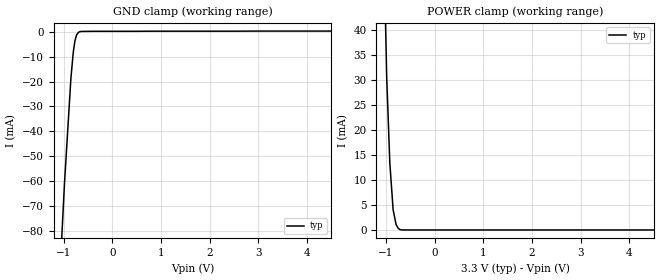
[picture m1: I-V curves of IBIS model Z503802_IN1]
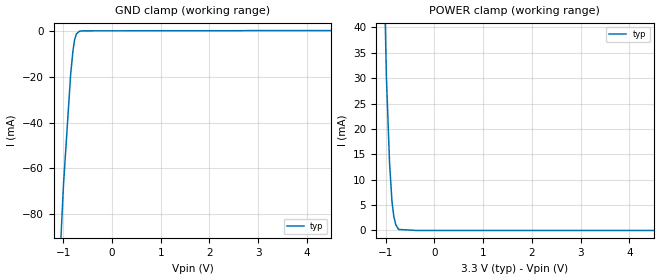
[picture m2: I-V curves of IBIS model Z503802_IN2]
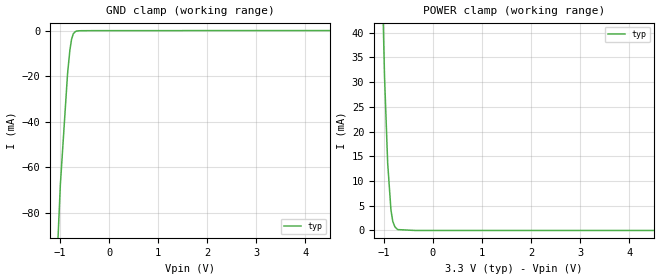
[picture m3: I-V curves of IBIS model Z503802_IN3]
| YOU ARE ONLY AUTHORIZED TO USE THIS SOFTWARE
| ACCORDING TO LICENSOR'S LICENSE RESTRICTIONS.
[IBIS Ver] 3.1
[File Name] mc74ac573n_33.ibs
[File Rev] 2.0
[Source] Measured and created by ICX Technology
[Date] Friday 7/14/00 9:08:00 AM
[Copyright]
| (C) COPYRIGHT 1993-2000
| MENTOR GRAPHICS CORPORATION
| ICX STANDARD LIBRARY, ICX PROJECT MODELING,
| ICX CUSTOM MODELING, ICX VENDOR MODEL
| ALL RIGHTS RESERVED.
| THE FOLLOWING ARE TRADEMARKS OR SERVICE MARKS OF
| MENTOR GRAPHICS CORPORATION:ICX (R), ICX STANDARD
| LIBRARY(R), ICX PROJECT MODELING(R), ICX CUSTOM
| MODELING(R), qualityIBIS(TM), MODELVIEWER(TM),
| AND MODELEDITOR(TM)
| ALL COPIES OF SOFTWARE, INCLUDING BUT NOT LIMITED TO
| ANY MODIFICATIONS, ENHANCEMENTS OR DERIVATIVE WORKS,
| MUST CONTAIN ALL MENTOR GRAPHICS CORPORATION'S
| NOTICES AND LEGENDS, INCLUDING THOSE EMBEDDED IN
| SOFTWARE AND THOSE AFFIXED TO SOFTWARE MEDIUM
| AND CONTAINER, AS RECEIVED FROM MENTOR GRAPHICS
| CORPORATION.
|  ZAP Model Builder 2.7
[Component] MC74AC573N_33
[Manufacturer] OnSemiconductor
[Package]
| variable   typ   min   max
R_pkg  .216ohms NA NA
L_pkg  5.76nH NA NA
C_pkg  1.29pF NA NA
[Pin] signal_name  model_name  R_pin  L_pin C_pin
1 _EN Z503802_IN1 .232 9.76n 1.87p
2 D0 Z503802_IN2 .224 7.26n 1.58p
3 D1 Z503802_IN2 .216 5.26n 1.29p
4 D2 Z503802_IN2 .208 3.76n 1.0p
5 D3 Z503802_IN2 .2 2.76n .71p
6 D4 Z503802_IN2 .2 2.76n .71p
7 D5 Z503802_IN2 .208 3.76n 1.0p
8 D6 Z503802_IN2 .216 5.26n 1.29p
9 D7 Z503802_IN2 .224 7.26n 1.58p
10 GND GND .232 9.76n 1.87p
11 CLK Z503802_IN3 .232 9.76n 1.87p
12 Q7 Z503802_TRI4 .224 7.26n 1.58p
13 Q6 Z503802_TRI4 .216 5.26n 1.29p
14 Q5 Z503802_TRI4 .208 3.76n 1.0p
15 Q4 Z503802_TRI4 .2 2.76n .71p
16 Q3 Z503802_TRI4 .2 2.76n .71p
17 Q2 Z503802_TRI4 .208 3.76n 1.0p
18 Q1 Z503802_TRI4 .216 5.26n 1.29p
19 Q0 Z503802_TRI4 .224 7.26n 1.58p
20 VCC POWER .232 9.76n 1.87p
| Models and submodels in the file (4): Z503802_IN1 (Input), Z503802_IN2 (Input), Z503802_IN3 (Input), Z503802_TRI4 (3-state)
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| (C) COPYRIGHT 1993-2000
| MENTOR GRAPHICS CORPORATION
| ICX STANDARD LIBRARY, ICX PROJECT MODELING,
| ICX CUSTOM MODELING, ICX VENDOR MODEL
| ALL RIGHTS RESERVED.
| THE FOLLOWING ARE TRADEMARKS OR SERVICE MARKS OF
| MENTOR GRAPHICS CORPORATION:ICX (R), ICX STANDARD
| LIBRARY(R), ICX PROJECT MODELING(R), ICX CUSTOM
| MODELING(R), qualityIBIS(TM), MODELVIEWER(TM),
| AND MODELEDITOR(TM)
| ALL COPIES OF SOFTWARE, INCLUDING BUT NOT LIMITED TO
| ANY MODIFICATIONS, ENHANCEMENTS OR DERIVATIVE WORKS,
| MUST CONTAIN ALL MENTOR GRAPHICS CORPORATION'S
| NOTICES AND LEGENDS, INCLUDING THOSE EMBEDDED IN
| SOFTWARE AND THOSE AFFIXED TO SOFTWARE MEDIUM
| AND CONTAINER, AS RECEIVED FROM MENTOR GRAPHICS
| CORPORATION.
| Model Application Version 1.89 2/18/99.
[Model] Z503802_IN1
Model_type Input
Vinl = 990.0mV
Vinh = 2.310V
C_comp 4.000pF NA NA
| variable typ   min   max
[Voltage Range] 3.300V NA NA
[GND Clamp Reference] 0.000V NA NA
[POWER Clamp Reference] 3.300V NA NA
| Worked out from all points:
|   GND clamp passes 1 mA (typ) near -0.72 V on its own axis
|   POWER clamp passes 1 mA (typ) near -0.79 V on its own axis
[GND Clamp]
-3.3V     -1.284A    NA         NA
-1.054V   -89.25mA   NA         NA
-981.9mV  -61.12mA   NA         NA
-848.6mV  -18.6mA    NA         NA
-800.4mV  -8.306mA   NA         NA
-767mV    -3.76mA    NA         NA
-731mV    -1.248mA   NA         NA
-667.4mV  -50.14uA   NA         NA
6.6V      203uA      NA         NA
[POWER Clamp]
-3.3V     1.657A     NA         NA
-1.334V   223.4mA    NA         NA
-1.133V   96.88mA    NA         NA
-987mV    30.66mA    NA         NA
-923mV    13.5mA     NA         NA
-855mV    4.057mA    NA         NA
-795mV    1.122mA    NA         NA
-756mV    402.3uA    NA         NA
-718mV    99.4uA     NA         NA
-679mV    3.2uA      NA         NA
-339.5mV  0A         NA         NA
6.6V      0A         NA         NA
| (C) COPYRIGHT 1993-2000
| MENTOR GRAPHICS CORPORATION
| ICX STANDARD LIBRARY, ICX PROJECT MODELING,
| ICX CUSTOM MODELING, ICX VENDOR MODEL
| ALL RIGHTS RESERVED.
| THE FOLLOWING ARE TRADEMARKS OR SERVICE MARKS OF
| MENTOR GRAPHICS CORPORATION:ICX (R), ICX STANDARD
| LIBRARY(R), ICX PROJECT MODELING(R), ICX CUSTOM
| MODELING(R), qualityIBIS(TM), MODELVIEWER(TM),
| AND MODELEDITOR(TM)
| ALL COPIES OF SOFTWARE, INCLUDING BUT NOT LIMITED TO
| ANY MODIFICATIONS, ENHANCEMENTS OR DERIVATIVE WORKS,
| MUST CONTAIN ALL MENTOR GRAPHICS CORPORATION'S
| NOTICES AND LEGENDS, INCLUDING THOSE EMBEDDED IN
| SOFTWARE AND THOSE AFFIXED TO SOFTWARE MEDIUM
| AND CONTAINER, AS RECEIVED FROM MENTOR GRAPHICS
| CORPORATION.
| Model Application Version 1.89 2/18/99.
[Model] Z503802_IN2
Model_type Input
Vinl = 990.0mV
Vinh = 2.310V
C_comp 4.000pF NA NA
| variable typ   min   max
[Voltage Range] 3.300V NA NA
[GND Clamp Reference] 0.000V NA NA
[POWER Clamp Reference] 3.300V NA NA
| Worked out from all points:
|   GND clamp passes 1 mA (typ) near -0.72 V on its own axis
|   POWER clamp passes 1 mA (typ) near -0.79 V on its own axis
[GND Clamp]
-3.3V     -1.359A    NA         NA
-1.077V   -103.6mA   NA         NA
-995.3mV  -67.07mA   NA         NA
-848mV    -18.8mA    NA         NA
-800.1mV  -8.393mA   NA         NA
-766.6mV  -3.767mA   NA         NA
-731.1mV  -1.259mA   NA         NA
-666.8mV  -69.97uA   NA         NA
6.6V      211.2uA    NA         NA
[POWER Clamp]
-3.3V     1.623A     NA         NA
-1.386V   251.3mA    NA         NA
-1.147V   102.5mA    NA         NA
-987mV    30.28mA    NA         NA
-923mV    13.41mA    NA         NA
-873mV    5.715mA    NA         NA
-835mV    2.763mA    NA         NA
-795mV    1.135mA    NA         NA
-737mV    202.5uA    NA         NA
-368.5mV  0A         NA         NA
6.6V      0A         NA         NA
| (C) COPYRIGHT 1993-2000
| MENTOR GRAPHICS CORPORATION
| ICX STANDARD LIBRARY, ICX PROJECT MODELING,
| ICX CUSTOM MODELING, ICX VENDOR MODEL
| ALL RIGHTS RESERVED.
| THE FOLLOWING ARE TRADEMARKS OR SERVICE MARKS OF
| MENTOR GRAPHICS CORPORATION:ICX (R), ICX STANDARD
| LIBRARY(R), ICX PROJECT MODELING(R), ICX CUSTOM
| MODELING(R), qualityIBIS(TM), MODELVIEWER(TM),
| AND MODELEDITOR(TM)
| ALL COPIES OF SOFTWARE, INCLUDING BUT NOT LIMITED TO
| ANY MODIFICATIONS, ENHANCEMENTS OR DERIVATIVE WORKS,
| MUST CONTAIN ALL MENTOR GRAPHICS CORPORATION'S
| NOTICES AND LEGENDS, INCLUDING THOSE EMBEDDED IN
| SOFTWARE AND THOSE AFFIXED TO SOFTWARE MEDIUM
| AND CONTAINER, AS RECEIVED FROM MENTOR GRAPHICS
| CORPORATION.
| Model Application Version 1.89 2/18/99.
[Model] Z503802_IN3
Model_type Input
Vinl = 990.0mV
Vinh = 2.310V
C_comp 4.000pF NA NA
| variable typ   min   max
[Voltage Range] 3.300V NA NA
[GND Clamp Reference] 0.000V NA NA
[POWER Clamp Reference] 3.300V NA NA
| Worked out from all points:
|   GND clamp passes 1 mA (typ) near -0.72 V on its own axis
|   POWER clamp passes 1 mA (typ) near -0.79 V on its own axis
[GND Clamp]
-3.3V     -1.607A    NA         NA
-1.086V   -113mA     NA         NA
-994.4mV  -67.62mA   NA         NA
-847.9mV  -18.84mA   NA         NA
-800mV    -8.405mA   NA         NA
-767mV    -3.753mA   NA         NA
-731mV    -1.258mA   NA         NA
-666.6mV  -75.7uA    NA         NA
6.6V      161.7uA    NA         NA
[POWER Clamp]
-3.3V     1.758A     NA         NA
-1.295V   206mA      NA         NA
-1.143V   106.4mA    NA         NA
-1.067V   65.16mA    NA         NA
-986mV    31.08mA    NA         NA
-922mV    13.63mA    NA         NA
-855mV    4.123mA    NA         NA
-818mV    1.848mA    NA         NA
-775mV    735.7uA    NA         NA
-718mV    180.6uA    NA         NA
-359mV    0A         NA         NA
6.6V      0A         NA         NA
